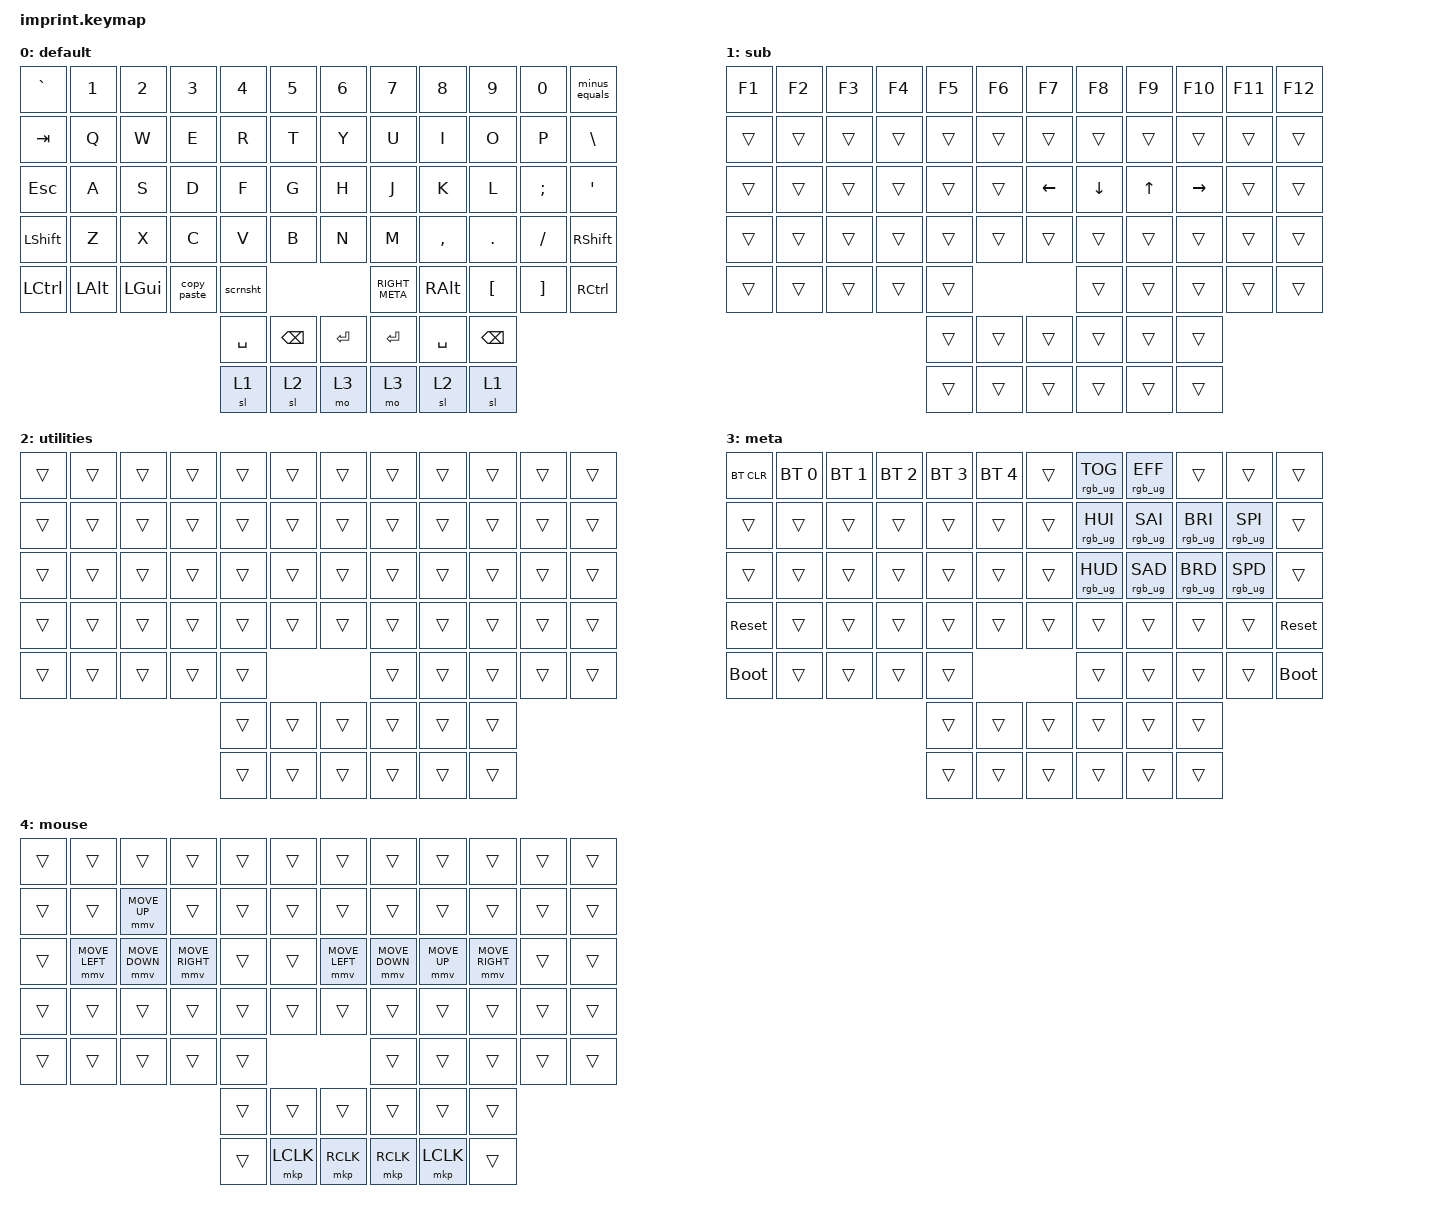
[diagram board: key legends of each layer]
#include <input/processors.dtsi>
#include <dt-bindings/zmk/input_transform.h>
#include <behaviors.dtsi>
#include <dt-bindings/zmk/bt.h>
#include <dt-bindings/zmk/keys.h>
#include <dt-bindings/zmk/pointing.h>
#include <dt-bindings/zmk/rgb.h>

/ {
    chosen { zmk,physical-layout = &physical_layout_imprint_number_row_full_bottom_row; };

    behaviors {
        minus_equals: minus_equals {
            compatible = "zmk,behavior-tap-dance";
            label = "MINUS_EQUALS";
            #binding-cells = <0>;
            bindings = <&kp MINUS>, <&kp EQUAL>;

            tapping-term-ms = <200>;
        };

        copy_paste: copy_paste {
            compatible = "zmk,behavior-tap-dance";
            label = "COPY_PASTE";
            #binding-cells = <0>;
            tapping-term-ms = <200>;
            bindings = <&kp LG(C)>, <&kp LG(V)>;
        };

        scrnsht: scrnsht {
            compatible = "zmk,behavior-tap-dance";
            label = "SCRNSHT";
            #binding-cells = <0>;
            bindings = <&kp LS(LG(LC(NUMBER_4)))>, <&kp LS(LG(NUMBER_4))>;

            tapping-term-ms = <200>;
        };
    };

    keymap {
        compatible = "zmk,keymap";

        default {
            bindings = <
&kp GRAVE         &kp N1        &kp N2    &kp N3       &kp N4     &kp N5                      &kp N6     &kp N7          &kp N8         &kp N9            &kp N0             &minus_equals
&kp TAB           &kp Q         &kp W     &kp E        &kp R      &kp T                       &kp Y      &kp U           &kp I          &kp O             &kp P              &kp BSLH
&kp ESCAPE        &kp A         &kp S     &kp D        &kp F      &kp G                       &kp H      &kp J           &kp K          &kp L             &kp SEMI           &kp SQT
&kp LSHFT         &kp Z         &kp X     &kp C        &kp V      &kp B                       &kp N      &kp M           &kp COMMA      &kp DOT           &kp FSLH           &kp RSHFT
&kp LEFT_CONTROL  &kp LEFT_ALT  &kp LGUI  &copy_paste  &scrnsht                                          &kp RIGHT_META  &kp RIGHT_ALT  &kp LEFT_BRACKET  &kp RIGHT_BRACKET  &kp RIGHT_CONTROL
                                                       &kp SPACE  &kp BACKSPACE  &kp ENTER    &kp ENTER  &kp SPACE       &kp BACKSPACE
                                                       &sl 1      &sl 2          &mo 3        &mo 3      &sl 2           &sl 1
            >;
        };

        sub {
            bindings = <
&kp F1  &kp F2  &kp F3  &kp F4  &kp F5  &kp F6            &kp F7          &kp F8    &kp F9        &kp F10    &kp F11  &kp F12
&trans  &trans  &trans  &trans  &trans  &trans            &trans          &trans    &trans        &trans     &trans   &trans
&trans  &trans  &trans  &trans  &trans  &trans            &kp LEFT_ARROW  &kp DOWN  &kp UP_ARROW  &kp RIGHT  &trans   &trans
&trans  &trans  &trans  &trans  &trans  &trans            &trans          &trans    &trans        &trans     &trans   &trans
&trans  &trans  &trans  &trans  &trans                                    &trans    &trans        &trans     &trans   &trans
                                &trans  &trans  &trans    &trans          &trans    &trans
                                &trans  &trans  &trans    &trans          &trans    &trans
            >;
        };

        utilities {
            bindings = <
&trans  &trans  &trans  &trans  &trans  &trans            &trans  &trans  &trans  &trans  &trans  &trans
&trans  &trans  &trans  &trans  &trans  &trans            &trans  &trans  &trans  &trans  &trans  &trans
&trans  &trans  &trans  &trans  &trans  &trans            &trans  &trans  &trans  &trans  &trans  &trans
&trans  &trans  &trans  &trans  &trans  &trans            &trans  &trans  &trans  &trans  &trans  &trans
&trans  &trans  &trans  &trans  &trans                            &trans  &trans  &trans  &trans  &trans
                                &trans  &trans  &trans    &trans  &trans  &trans
                                &trans  &trans  &trans    &trans  &trans  &trans
            >;
        };

        meta {
            bindings = <
&bt BT_CLR   &bt BT_SEL 0  &bt BT_SEL 1  &bt BT_SEL 2  &bt BT_SEL 3  &bt BT_SEL 4            &trans  &rgb_ug RGB_TOG  &rgb_ug RGB_EFF  &trans           &trans           &trans
&trans       &trans        &trans        &trans        &trans        &trans                  &trans  &rgb_ug RGB_HUI  &rgb_ug RGB_SAI  &rgb_ug RGB_BRI  &rgb_ug RGB_SPI  &trans
&trans       &trans        &trans        &trans        &trans        &trans                  &trans  &rgb_ug RGB_HUD  &rgb_ug RGB_SAD  &rgb_ug RGB_BRD  &rgb_ug RGB_SPD  &trans
&sys_reset   &trans        &trans        &trans        &trans        &trans                  &trans  &trans           &trans           &trans           &trans           &sys_reset
&bootloader  &trans        &trans        &trans        &trans                                        &trans           &trans           &trans           &trans           &bootloader
                                                       &trans        &trans        &trans    &trans  &trans           &trans
                                                       &trans        &trans        &trans    &trans  &trans           &trans
            >;
        };

        mouse {
            bindings = <
&trans  &trans          &trans          &trans           &trans  &trans                  &trans          &trans          &trans        &trans           &trans  &trans
&trans  &trans          &mmv MOVE_UP    &trans           &trans  &trans                  &trans          &trans          &trans        &trans           &trans  &trans
&trans  &mmv MOVE_LEFT  &mmv MOVE_DOWN  &mmv MOVE_RIGHT  &trans  &trans                  &mmv MOVE_LEFT  &mmv MOVE_DOWN  &mmv MOVE_UP  &mmv MOVE_RIGHT  &trans  &trans
&trans  &trans          &trans          &trans           &trans  &trans                  &trans          &trans          &trans        &trans           &trans  &trans
&trans  &trans          &trans          &trans           &trans                                          &trans          &trans        &trans           &trans  &trans
                                                         &trans  &trans     &trans       &trans          &trans          &trans
                                                         &trans  &mkp LCLK  &mkp RCLK    &mkp RCLK       &mkp LCLK       &trans
            >;
        };
    };
};

//right hand trackball configuration

&trackball_peripheral_listener {
    input-processors =
        // activate layer 4 and disables within 500ms of no movement
        <&zip_temp_layer 4 500>;
};

//left hand trackball configuration

&trackball_central_listener {
    input-processors =
        // make this trackball output scrolling events by default instead of cursor movement
        <&zip_xy_to_scroll_mapper>,
        // multiply sensitivity by 1, divide by 10 (make it slower for scrolling)
        <&zip_scroll_scaler 1 20>,
        // invert vertical scrolling so that the view moves in the same direction as the top of the trackball
        <&zip_scroll_transform INPUT_TRANSFORM_Y_INVERT>;
};
